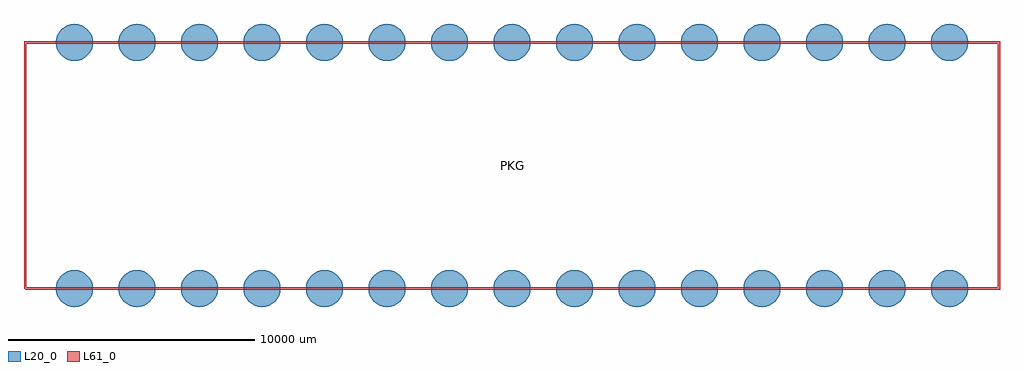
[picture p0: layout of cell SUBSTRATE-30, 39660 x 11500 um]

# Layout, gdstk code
import gdstk
lib = gdstk.Library(unit=1e-6, precision=1e-09)
def P(c, l, *ps):  # polygons
    for p in ps: c.add(gdstk.Polygon(p, *l))
L20_0 = (20, 0)
L61_0 = (61, 0)

substrate_30 = lib.new_cell('SUBSTRATE-30')
P(substrate_30, L20_0, [(2750,0),(2736,146),(2693,287),(2624,417),(2530,530),(2417,624),(2287,693),(2146,736),(2000,750),(1854,736),(1713,693),(1583,624),(1470,530),(1376,417),(1307,287),(1264,146),(1250,0),(1264,-146),(1307,-287),(1376,-417),(1470,-530),(1583,-624),(1713,-693),(1854,-736),(2000,-750),(2146,-736),(2287,-693),(2417,-624),(2530,-530),(2624,-417),(2693,-287),(2736,-146)],
  [(5290,0),(5276,146),(5233,287),(5164,417),(5070,530),(4957,624),(4827,693),(4686,736),(4540,750),(4394,736),(4253,693),(4123,624),(4010,530),(3916,417),(3847,287),(3804,146),(3790,0),(3804,-146),(3847,-287),(3916,-417),(4010,-530),(4123,-624),(4253,-693),(4394,-736),(4540,-750),(4686,-736),(4827,-693),(4957,-624),(5070,-530),(5164,-417),(5233,-287),(5276,-146)],
  [(7830,0),(7816,146),(7773,287),(7704,417),(7610,530),(7497,624),(7367,693),(7226,736),(7080,750),(6934,736),(6793,693),(6663,624),(6550,530),(6456,417),(6387,287),(6344,146),(6330,0),(6344,-146),(6387,-287),(6456,-417),(6550,-530),(6663,-624),(6793,-693),(6934,-736),(7080,-750),(7226,-736),(7367,-693),(7497,-624),(7610,-530),(7704,-417),(7773,-287),(7816,-146)],
  [(10370,0),(10356,146),(10313,287),(10244,417),(10150,530),(10037,624),(9907,693),(9766,736),(9620,750),(9474,736),(9333,693),(9203,624),(9090,530),(8996,417),(8927,287),(8884,146),(8870,0),(8884,-146),(8927,-287),(8996,-417),(9090,-530),(9203,-624),(9333,-693),(9474,-736),(9620,-750),(9766,-736),(9907,-693),(10037,-624),(10150,-530),(10244,-417),(10313,-287),(10356,-146)],
  [(12910,0),(12896,146),(12853,287),(12784,417),(12690,530),(12577,624),(12447,693),(12306,736),(12160,750),(12014,736),(11873,693),(11743,624),(11630,530),(11536,417),(11467,287),(11424,146),(11410,0),(11424,-146),(11467,-287),(11536,-417),(11630,-530),(11743,-624),(11873,-693),(12014,-736),(12160,-750),(12306,-736),(12447,-693),(12577,-624),(12690,-530),(12784,-417),(12853,-287),(12896,-146)],
  [(15450,0),(15436,146),(15393,287),(15324,417),(15230,530),(15117,624),(14987,693),(14846,736),(14700,750),(14554,736),(14413,693),(14283,624),(14170,530),(14076,417),(14007,287),(13964,146),(13950,0),(13964,-146),(14007,-287),(14076,-417),(14170,-530),(14283,-624),(14413,-693),(14554,-736),(14700,-750),(14846,-736),(14987,-693),(15117,-624),(15230,-530),(15324,-417),(15393,-287),(15436,-146)],
  [(17990,0),(17976,146),(17933,287),(17864,417),(17770,530),(17657,624),(17527,693),(17386,736),(17240,750),(17094,736),(16953,693),(16823,624),(16710,530),(16616,417),(16547,287),(16504,146),(16490,0),(16504,-146),(16547,-287),(16616,-417),(16710,-530),(16823,-624),(16953,-693),(17094,-736),(17240,-750),(17386,-736),(17527,-693),(17657,-624),(17770,-530),(17864,-417),(17933,-287),(17976,-146)],
  [(20530,0),(20516,146),(20473,287),(20404,417),(20310,530),(20197,624),(20067,693),(19926,736),(19780,750),(19634,736),(19493,693),(19363,624),(19250,530),(19156,417),(19087,287),(19044,146),(19030,0),(19044,-146),(19087,-287),(19156,-417),(19250,-530),(19363,-624),(19493,-693),(19634,-736),(19780,-750),(19926,-736),(20067,-693),(20197,-624),(20310,-530),(20404,-417),(20473,-287),(20516,-146)],
  [(23070,0),(23056,146),(23013,287),(22944,417),(22850,530),(22737,624),(22607,693),(22466,736),(22320,750),(22174,736),(22033,693),(21903,624),(21790,530),(21696,417),(21627,287),(21584,146),(21570,0),(21584,-146),(21627,-287),(21696,-417),(21790,-530),(21903,-624),(22033,-693),(22174,-736),(22320,-750),(22466,-736),(22607,-693),(22737,-624),(22850,-530),(22944,-417),(23013,-287),(23056,-146)],
  [(25610,0),(25596,146),(25553,287),(25484,417),(25390,530),(25277,624),(25147,693),(25006,736),(24860,750),(24714,736),(24573,693),(24443,624),(24330,530),(24236,417),(24167,287),(24124,146),(24110,0),(24124,-146),(24167,-287),(24236,-417),(24330,-530),(24443,-624),(24573,-693),(24714,-736),(24860,-750),(25006,-736),(25147,-693),(25277,-624),(25390,-530),(25484,-417),(25553,-287),(25596,-146)],
  [(28150,0),(28136,146),(28093,287),(28024,417),(27930,530),(27817,624),(27687,693),(27546,736),(27400,750),(27254,736),(27113,693),(26983,624),(26870,530),(26776,417),(26707,287),(26664,146),(26650,0),(26664,-146),(26707,-287),(26776,-417),(26870,-530),(26983,-624),(27113,-693),(27254,-736),(27400,-750),(27546,-736),(27687,-693),(27817,-624),(27930,-530),(28024,-417),(28093,-287),(28136,-146)],
  [(30690,0),(30676,146),(30633,287),(30564,417),(30470,530),(30357,624),(30227,693),(30086,736),(29940,750),(29794,736),(29653,693),(29523,624),(29410,530),(29316,417),(29247,287),(29204,146),(29190,0),(29204,-146),(29247,-287),(29316,-417),(29410,-530),(29523,-624),(29653,-693),(29794,-736),(29940,-750),(30086,-736),(30227,-693),(30357,-624),(30470,-530),(30564,-417),(30633,-287),(30676,-146)],
  [(33230,0),(33216,146),(33173,287),(33104,417),(33010,530),(32897,624),(32767,693),(32626,736),(32480,750),(32334,736),(32193,693),(32063,624),(31950,530),(31856,417),(31787,287),(31744,146),(31730,0),(31744,-146),(31787,-287),(31856,-417),(31950,-530),(32063,-624),(32193,-693),(32334,-736),(32480,-750),(32626,-736),(32767,-693),(32897,-624),(33010,-530),(33104,-417),(33173,-287),(33216,-146)],
  [(35770,0),(35756,146),(35713,287),(35644,417),(35550,530),(35437,624),(35307,693),(35166,736),(35020,750),(34874,736),(34733,693),(34603,624),(34490,530),(34396,417),(34327,287),(34284,146),(34270,0),(34284,-146),(34327,-287),(34396,-417),(34490,-530),(34603,-624),(34733,-693),(34874,-736),(35020,-750),(35166,-736),(35307,-693),(35437,-624),(35550,-530),(35644,-417),(35713,-287),(35756,-146)],
  [(38310,0),(38296,146),(38253,287),(38184,417),(38090,530),(37977,624),(37847,693),(37706,736),(37560,750),(37414,736),(37273,693),(37143,624),(37030,530),(36936,417),(36867,287),(36824,146),(36810,0),(36824,-146),(36867,-287),(36936,-417),(37030,-530),(37143,-624),(37273,-693),(37414,-736),(37560,-750),(37706,-736),(37847,-693),(37977,-624),(38090,-530),(38184,-417),(38253,-287),(38296,-146)],
  [(38310,10000),(38296,10146),(38253,10287),(38184,10417),(38090,10530),(37977,10624),(37847,10693),(37706,10736),(37560,10750),(37414,10736),(37273,10693),(37143,10624),(37030,10530),(36936,10417),(36867,10287),(36824,10146),(36810,10000),(36824,9854),(36867,9713),(36936,9583),(37030,9470),(37143,9376),(37273,9307),(37414,9264),(37560,9250),(37706,9264),(37847,9307),(37977,9376),(38090,9470),(38184,9583),(38253,9713),(38296,9854)],
  [(35770,10000),(35756,10146),(35713,10287),(35644,10417),(35550,10530),(35437,10624),(35307,10693),(35166,10736),(35020,10750),(34874,10736),(34733,10693),(34603,10624),(34490,10530),(34396,10417),(34327,10287),(34284,10146),(34270,10000),(34284,9854),(34327,9713),(34396,9583),(34490,9470),(34603,9376),(34733,9307),(34874,9264),(35020,9250),(35166,9264),(35307,9307),(35437,9376),(35550,9470),(35644,9583),(35713,9713),(35756,9854)],
  [(33230,10000),(33216,10146),(33173,10287),(33104,10417),(33010,10530),(32897,10624),(32767,10693),(32626,10736),(32480,10750),(32334,10736),(32193,10693),(32063,10624),(31950,10530),(31856,10417),(31787,10287),(31744,10146),(31730,10000),(31744,9854),(31787,9713),(31856,9583),(31950,9470),(32063,9376),(32193,9307),(32334,9264),(32480,9250),(32626,9264),(32767,9307),(32897,9376),(33010,9470),(33104,9583),(33173,9713),(33216,9854)],
  [(30690,10000),(30676,10146),(30633,10287),(30564,10417),(30470,10530),(30357,10624),(30227,10693),(30086,10736),(29940,10750),(29794,10736),(29653,10693),(29523,10624),(29410,10530),(29316,10417),(29247,10287),(29204,10146),(29190,10000),(29204,9854),(29247,9713),(29316,9583),(29410,9470),(29523,9376),(29653,9307),(29794,9264),(29940,9250),(30086,9264),(30227,9307),(30357,9376),(30470,9470),(30564,9583),(30633,9713),(30676,9854)],
  [(28150,10000),(28136,10146),(28093,10287),(28024,10417),(27930,10530),(27817,10624),(27687,10693),(27546,10736),(27400,10750),(27254,10736),(27113,10693),(26983,10624),(26870,10530),(26776,10417),(26707,10287),(26664,10146),(26650,10000),(26664,9854),(26707,9713),(26776,9583),(26870,9470),(26983,9376),(27113,9307),(27254,9264),(27400,9250),(27546,9264),(27687,9307),(27817,9376),(27930,9470),(28024,9583),(28093,9713),(28136,9854)],
  [(25610,10000),(25596,10146),(25553,10287),(25484,10417),(25390,10530),(25277,10624),(25147,10693),(25006,10736),(24860,10750),(24714,10736),(24573,10693),(24443,10624),(24330,10530),(24236,10417),(24167,10287),(24124,10146),(24110,10000),(24124,9854),(24167,9713),(24236,9583),(24330,9470),(24443,9376),(24573,9307),(24714,9264),(24860,9250),(25006,9264),(25147,9307),(25277,9376),(25390,9470),(25484,9583),(25553,9713),(25596,9854)],
  [(23070,10000),(23056,10146),(23013,10287),(22944,10417),(22850,10530),(22737,10624),(22607,10693),(22466,10736),(22320,10750),(22174,10736),(22033,10693),(21903,10624),(21790,10530),(21696,10417),(21627,10287),(21584,10146),(21570,10000),(21584,9854),(21627,9713),(21696,9583),(21790,9470),(21903,9376),(22033,9307),(22174,9264),(22320,9250),(22466,9264),(22607,9307),(22737,9376),(22850,9470),(22944,9583),(23013,9713),(23056,9854)],
  [(20530,10000),(20516,10146),(20473,10287),(20404,10417),(20310,10530),(20197,10624),(20067,10693),(19926,10736),(19780,10750),(19634,10736),(19493,10693),(19363,10624),(19250,10530),(19156,10417),(19087,10287),(19044,10146),(19030,10000),(19044,9854),(19087,9713),(19156,9583),(19250,9470),(19363,9376),(19493,9307),(19634,9264),(19780,9250),(19926,9264),(20067,9307),(20197,9376),(20310,9470),(20404,9583),(20473,9713),(20516,9854)],
  [(17990,10000),(17976,10146),(17933,10287),(17864,10417),(17770,10530),(17657,10624),(17527,10693),(17386,10736),(17240,10750),(17094,10736),(16953,10693),(16823,10624),(16710,10530),(16616,10417),(16547,10287),(16504,10146),(16490,10000),(16504,9854),(16547,9713),(16616,9583),(16710,9470),(16823,9376),(16953,9307),(17094,9264),(17240,9250),(17386,9264),(17527,9307),(17657,9376),(17770,9470),(17864,9583),(17933,9713),(17976,9854)],
  [(15450,10000),(15436,10146),(15393,10287),(15324,10417),(15230,10530),(15117,10624),(14987,10693),(14846,10736),(14700,10750),(14554,10736),(14413,10693),(14283,10624),(14170,10530),(14076,10417),(14007,10287),(13964,10146),(13950,10000),(13964,9854),(14007,9713),(14076,9583),(14170,9470),(14283,9376),(14413,9307),(14554,9264),(14700,9250),(14846,9264),(14987,9307),(15117,9376),(15230,9470),(15324,9583),(15393,9713),(15436,9854)],
  [(12910,10000),(12896,10146),(12853,10287),(12784,10417),(12690,10530),(12577,10624),(12447,10693),(12306,10736),(12160,10750),(12014,10736),(11873,10693),(11743,10624),(11630,10530),(11536,10417),(11467,10287),(11424,10146),(11410,10000),(11424,9854),(11467,9713),(11536,9583),(11630,9470),(11743,9376),(11873,9307),(12014,9264),(12160,9250),(12306,9264),(12447,9307),(12577,9376),(12690,9470),(12784,9583),(12853,9713),(12896,9854)],
  [(10370,10000),(10356,10146),(10313,10287),(10244,10417),(10150,10530),(10037,10624),(9907,10693),(9766,10736),(9620,10750),(9474,10736),(9333,10693),(9203,10624),(9090,10530),(8996,10417),(8927,10287),(8884,10146),(8870,10000),(8884,9854),(8927,9713),(8996,9583),(9090,9470),(9203,9376),(9333,9307),(9474,9264),(9620,9250),(9766,9264),(9907,9307),(10037,9376),(10150,9470),(10244,9583),(10313,9713),(10356,9854)],
  [(7830,10000),(7816,10146),(7773,10287),(7704,10417),(7610,10530),(7497,10624),(7367,10693),(7226,10736),(7080,10750),(6934,10736),(6793,10693),(6663,10624),(6550,10530),(6456,10417),(6387,10287),(6344,10146),(6330,10000),(6344,9854),(6387,9713),(6456,9583),(6550,9470),(6663,9376),(6793,9307),(6934,9264),(7080,9250),(7226,9264),(7367,9307),(7497,9376),(7610,9470),(7704,9583),(7773,9713),(7816,9854)],
  [(5290,10000),(5276,10146),(5233,10287),(5164,10417),(5070,10530),(4957,10624),(4827,10693),(4686,10736),(4540,10750),(4394,10736),(4253,10693),(4123,10624),(4010,10530),(3916,10417),(3847,10287),(3804,10146),(3790,10000),(3804,9854),(3847,9713),(3916,9583),(4010,9470),(4123,9376),(4253,9307),(4394,9264),(4540,9250),(4686,9264),(4827,9307),(4957,9376),(5070,9470),(5164,9583),(5233,9713),(5276,9854)],
  [(2750,10000),(2736,10146),(2693,10287),(2624,10417),(2530,10530),(2417,10624),(2287,10693),(2146,10736),(2000,10750),(1854,10736),(1713,10693),(1583,10624),(1470,10530),(1376,10417),(1307,10287),(1264,10146),(1250,10000),(1264,9854),(1307,9713),(1376,9583),(1470,9470),(1583,9376),(1713,9307),(1854,9264),(2000,9250),(2146,9264),(2287,9307),(2417,9376),(2530,9470),(2624,9583),(2693,9713),(2736,9854)])
substrate_30.add(gdstk.FlexPath([(0,0),(39560,0),(39560,10000),(0,10000),(0,0)], 100, ends="flush", simple_path=True, layer=61, datatype=0))  # L61_0
substrate_30.add(gdstk.Label('PKG', (19780,5000), layer=62, texttype=0))

lib.write_gds('SUBSTRATE-30.gds')
